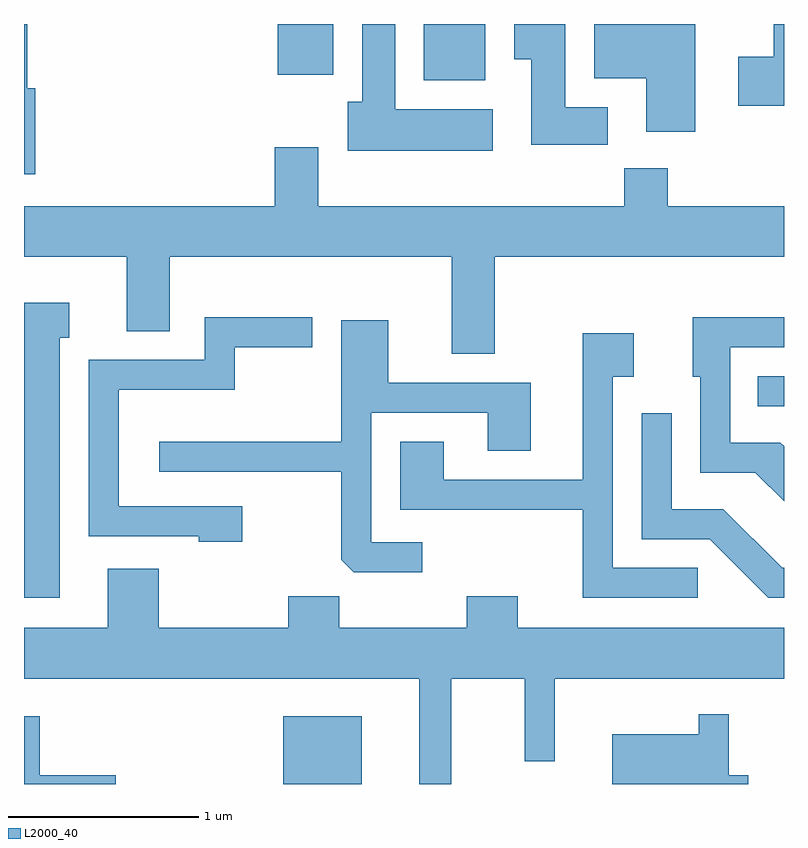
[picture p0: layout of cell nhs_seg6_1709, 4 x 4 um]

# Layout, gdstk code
import gdstk
lib = gdstk.Library(unit=1e-6, precision=1e-09)
def R(c, l, rs):  # rectangles x0, y0, x1, y1
    for r in rs: c.add(gdstk.rectangle(r[:2], r[2:], *l))
def P(c, l, *ps):  # polygons
    for p in ps: c.add(gdstk.Polygon(p, *l))
L2000_40 = (2000, 40)

nhs_seg6_1709 = lib.new_cell('nhs_seg6_1709')
R(nhs_seg6_1709, L2000_40, [(238.976,1536.162,239.389,1536.519), (241.473,1538.151,241.611,1538.309), (239.716,1539.866,240.039,1540.162), (238.946,1539.896,239.239,1540.162)])
P(nhs_seg6_1709, L2000_40, [(241.144,1540.162),(240.611,1540.162),(240.611,1539.876),(240.886,1539.876),(240.886,1539.596),(241.144,1539.596)],
  [(240.684,1539.724),(240.459,1539.724),(240.459,1540.162),(240.191,1540.162),(240.191,1539.976),(240.281,1539.976),(240.281,1539.526),(240.684,1539.526)],
  [(241.611,1540.162),(241.556,1540.162),(241.556,1539.989),(241.371,1539.989),(241.371,1539.731),(241.611,1539.731)],
  [(240.079,1539.714),(239.564,1539.714),(239.564,1540.162),(239.391,1540.162),(239.391,1539.754),(239.316,1539.754),(239.316,1539.496),(240.079,1539.496)],
  [(237.669,1539.824),(237.629,1539.824),(237.629,1540.162),(237.611,1540.162),(237.611,1539.371),(237.669,1539.371)],
  [(240.089,1538.936),(241.611,1538.936),(241.611,1539.204),(240.999,1539.204),(240.999,1539.404),(240.771,1539.404),(240.771,1539.204),(239.159,1539.204),(239.159,1539.514),(238.931,1539.514),(238.931,1539.204),(237.611,1539.204),(237.611,1538.936),(238.151,1538.936),(238.151,1538.546),(238.379,1538.546),(238.379,1538.936),(239.861,1538.936),(239.861,1538.426),(240.089,1538.426)],
  [(237.799,1538.511),(237.849,1538.511),(237.849,1538.694),(237.611,1538.694),(237.611,1537.141),(237.799,1537.141)],
  [(241.611,1537.94),(241.592,1537.959),(241.329,1537.959),(241.329,1538.461),(241.611,1538.461),(241.611,1538.619),(241.131,1538.619),(241.131,1538.306),(241.171,1538.306),(241.171,1537.801),(241.459,1537.801),(241.611,1537.649)],
  [(238.759,1537.624),(238.109,1537.624),(238.109,1538.236),(238.719,1538.236),(238.719,1538.461),(239.128,1538.461),(239.128,1538.619),(238.561,1538.619),(238.561,1538.394),(237.951,1538.394),(237.951,1537.466),(238.531,1537.466),(238.531,1537.436),(238.759,1537.436)],
  [(239.708,1537.434),(239.439,1537.434),(239.439,1538.116),(240.051,1538.116),(240.051,1537.916),(240.279,1537.916),(240.279,1538.274),(239.529,1538.274),(239.529,1538.604),(239.281,1538.604),(239.281,1537.964),(238.323,1537.964),(238.323,1537.806),(239.281,1537.806),(239.281,1537.342),(239.347,1537.276),(239.708,1537.276)],
  [(241.158,1537.299),(240.709,1537.299),(240.709,1538.306),(240.819,1538.306),(240.819,1538.534),(240.551,1538.534),(240.551,1537.764),(239.819,1537.764),(239.819,1537.964),(239.591,1537.964),(239.591,1537.606),(240.551,1537.606),(240.551,1537.141),(241.158,1537.141)],
  [(241.611,1537.299),(241.602,1537.299),(241.292,1537.609),(241.019,1537.609),(241.019,1538.113),(240.861,1538.113),(240.861,1537.451),(241.219,1537.451),(241.529,1537.141),(241.611,1537.141)],
  [(239.859,1536.716),(240.246,1536.716),(240.246,1536.283),(240.404,1536.283),(240.404,1536.716),(241.611,1536.716),(241.611,1536.984),(240.209,1536.984),(240.209,1537.149),(239.941,1537.149),(239.941,1536.984),(239.269,1536.984),(239.269,1537.149),(239.001,1537.149),(239.001,1536.984),(238.319,1536.984),(238.319,1537.294),(238.051,1537.294),(238.051,1536.984),(237.611,1536.984),(237.611,1536.716),(239.691,1536.716),(239.691,1536.162),(239.859,1536.162)],
  [(241.424,1536.209),(241.319,1536.209),(241.319,1536.528),(241.161,1536.528),(241.161,1536.424),(240.706,1536.424),(240.706,1536.162),(241.424,1536.162)],
  [(238.094,1536.209),(237.694,1536.209),(237.694,1536.519),(237.611,1536.519),(237.611,1536.162),(238.094,1536.162)])

lib.write_gds('nhs_seg6_1709.gds')
